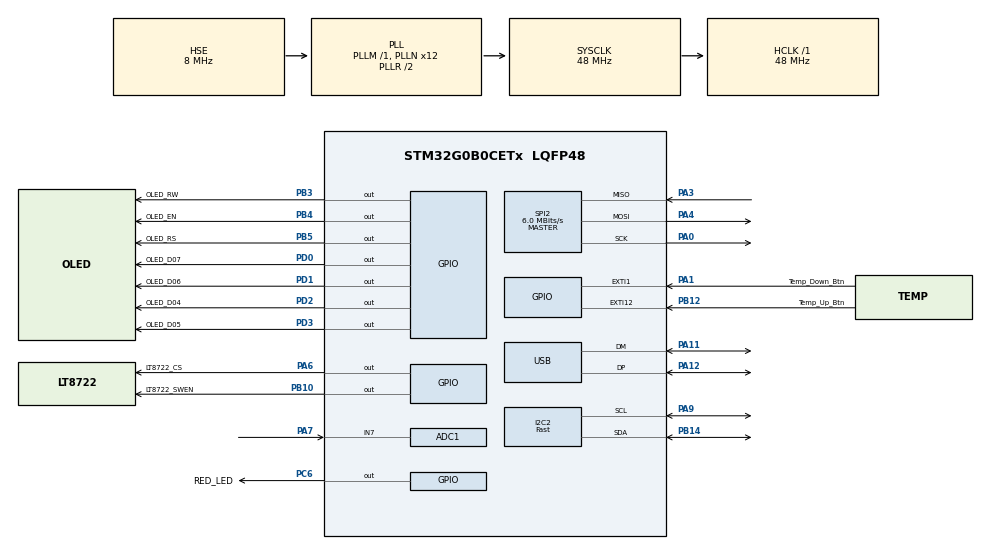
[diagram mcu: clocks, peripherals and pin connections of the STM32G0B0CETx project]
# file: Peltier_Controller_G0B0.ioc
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ADC1.Channel-0\#ChannelRegularConversion=ADC_CHANNEL_7
ADC1.NbrOfConversionFlag=1
ADC1.Rank-0\#ChannelRegularConversion=1
ADC1.SamplingTime-0\#ChannelRegularConversion=ADC_SAMPLINGTIME_COMMON_1
ADC1.SamplingTimeCommon1=ADC_SAMPLETIME_39CYCLES_5
ADC1.SamplingTimeCommon2=ADC_SAMPLETIME_39CYCLES_5
ADC1.SelectedChannel=ADC_CHANNEL_7
ADC1.master=1
I2C2.I2C_Speed_Mode=I2C_Fast
I2C2.Timing=0x0090194B
Mcu.Family=STM32G0
Mcu.Name=STM32G0B0CETx
Mcu.Package=LQFP48
NVIC.ADC1_IRQn=true\:0\:0\:false\:false\:true\:true\:true\:true
NVIC.EXTI0_1_IRQn=true\:0\:0\:false\:false\:true\:true\:true\:true
NVIC.EXTI4_15_IRQn=true\:0\:0\:false\:false\:true\:true\:true\:true
NVIC.TIM14_IRQn=true\:0\:0\:false\:false\:true\:true\:true\:true
NVIC.TIM16_IRQn=true\:0\:0\:false\:false\:true\:true\:true\:true
NVIC.TIM17_IRQn=true\:0\:0\:false\:false\:true\:true\:true\:true
NVIC.TIM7_IRQn=true\:0\:0\:false\:false\:true\:true\:true\:true
NVIC.USB_IRQn=true\:0\:0\:false\:false\:true\:false\:true\:true
PA0.Mode=Full_Duplex_Master
PA0.Signal=SPI2_SCK
PA1.GPIO_Label=Temp_Down_Btn
PA1.GPIO_ModeDefaultEXTI=GPIO_MODE_IT_FALLING
PA1.Signal=GPXTI1
PA11\ [PA9].Mode=Device
PA11\ [PA9].Signal=USB_DM
PA12\ [PA10].Mode=Device
PA12\ [PA10].Signal=USB_DP
PA13.Mode=Serial_Wire
PA13.Signal=SYS_SWDIO
PA14-BOOT0.Mode=Serial_Wire
PA14-BOOT0.Signal=SYS_SWCLK
PA3.Mode=Full_Duplex_Master
PA3.Signal=SPI2_MISO
PA4.Mode=Full_Duplex_Master
PA4.Signal=SPI2_MOSI
PA6.GPIO_Label=LT8722_CS
PA6.Signal=GPIO_Output
PA7.Mode=IN7
PA7.Signal=ADC1_IN7
PA9.GPIO_Pu=GPIO_PULLUP
PA9.Mode=I2C
PA9.Signal=I2C2_SCL
PB10.GPIO_Label=LT8722_SWEN
PB10.Signal=GPIO_Output
PB12.GPIO_Label=Temp_Up_Btn
PB12.GPIO_ModeDefaultEXTI=GPIO_MODE_IT_FALLING
PB12.Signal=GPXTI12
PB14.GPIO_Pu=GPIO_PULLUP
PB14.Mode=I2C
PB14.Signal=I2C2_SDA
PB3.GPIO_Label=OLED_RW
PB3.Signal=GPIO_Output
PB4.GPIO_Label=OLED_EN
PB4.Signal=GPIO_Output
PB5.GPIO_Label=OLED_RS
PB5.Signal=GPIO_Output
PC6.GPIO_Label=RED_LED
PC6.Signal=GPIO_Output
PD0.GPIO_Label=OLED_D07
PD0.Signal=GPIO_Output
PD1.GPIO_Label=OLED_D06
PD1.Signal=GPIO_Output
PD2.GPIO_Label=OLED_D04
PD2.Signal=GPIO_Output
PD3.GPIO_Label=OLED_D05
PD3.Signal=GPIO_Output
PF0-OSC_IN\ (PF0).Mode=HSE-External-Oscillator
PF0-OSC_IN\ (PF0).Signal=RCC_OSC_IN
PF1-OSC_OUT\ (PF1).Mode=HSE-External-Oscillator
PF1-OSC_OUT\ (PF1).Signal=RCC_OSC_OUT
ProjectManager.HeapSize=0x200
ProjectManager.StackSize=0x400
ProjectManager.TargetToolchain=STM32CubeIDE
RCC.ADCFreq_Value=48000000
RCC.AHBFreq_Value=48000000
RCC.CortexFreq_Value=48000000
RCC.EXTERNAL_CLOCK_VALUE=48000
RCC.HCLKFreq_Value=48000000
RCC.HSE_VALUE=8000000
RCC.HSI_VALUE=16000000
RCC.LSE_VALUE=32768
RCC.PLLN=12
RCC.PLLSourceVirtual=RCC_PLLSOURCE_HSE
RCC.SYSCLKFreq_VALUE=48000000
RCC.SYSCLKSource=RCC_SYSCLKSOURCE_PLLCLK
RCC.USBFreq_Value=48000000
RCC.VCOOutputFreq_Value=96000000
SPI2.BaudRatePrescaler=SPI_BAUDRATEPRESCALER_8
SPI2.CalculateBaudRate=6.0 MBits/s
SPI2.DataSize=SPI_DATASIZE_8BIT
SPI2.Direction=SPI_DIRECTION_2LINES
SPI2.Mode=SPI_MODE_MASTER
SPI2.VirtualType=VM_MASTER
TIM14.Period=100-1
TIM14.Prescaler=48000-1
TIM16.Period=1000-1
TIM16.Prescaler=48000-1
TIM17.Period=1000-1
TIM17.Prescaler=48000-1
TIM7.Period=33-1
TIM7.Prescaler=48000-1
USB_DEVICE.CLASS_NAME_FS=CDC
USB_DEVICE.VirtualMode=Cdc
USB_DEVICE.VirtualModeFS=Cdc_FS
VP_SYS_VS_DBSignals.Mode=DisableDeadBatterySignals
VP_TIM14_VS_ClockSourceINT.Mode=Enable_Timer
VP_TIM16_VS_ClockSourceINT.Mode=Enable_Timer
VP_TIM17_VS_ClockSourceINT.Mode=Enable_Timer
VP_TIM7_VS_ClockSourceINT.Mode=Enable_Timer
VP_USB_DEVICE_VS_USB_DEVICE_CDC_FS.Mode=CDC_FS
board=custom

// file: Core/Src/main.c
/* USER CODE BEGIN Header */
/**
  ******************************************************************************
  * @file           : main.c
  * @brief          : Main program body
  ******************************************************************************
  * @attention
  *
  * Copyright (c) 2025 STMicroelectronics.
  * All rights reserved.
  *
  * This software is licensed under terms that can be found in the LICENSE file
  * in the root directory of this software component.
  * If no LICENSE file comes with this software, it is provided AS-IS.
  *
  ******************************************************************************
  */
/* USER CODE END Header */
#include "main.h"
#include "usb_device.h"

/* USER CODE BEGIN Includes */

#include <string.h>
#include "OLED_WS0010.h"
#include "tmp1075.h"
#include "lt8722.h"
#include "pid.h"
#include "usb_helpers.h"

/* USER CODE END Includes */

ADC_HandleTypeDef hadc1;

I2C_HandleTypeDef hi2c2;

SPI_HandleTypeDef hspi2;

TIM_HandleTypeDef htim7;
TIM_HandleTypeDef htim14;
TIM_HandleTypeDef htim16;
TIM_HandleTypeDef htim17;

/* USER CODE BEGIN PV */
int time_to_rerun_PID_loop = 0;
int time_to_refresh_OLED = 0;
int temp_down_btn_is_pressed_down = 0;
int temp_up_btn_is_pressed_down = 0;
int is_following_profile = 0;
double set_temp_inside = 0;
int button_is_bouncing = 0;

double current_temp_inside = 0;
double current_temp_outside = 0;
double pid_output = 0;

double Kp_Part = 0;
double Ki_Part = 0;
double Kd_Part = 0;

/* USER CODE END PV */

void SystemClock_Config(void);
static void MX_GPIO_Init(void);
static void MX_I2C2_Init(void);
static void MX_ADC1_Init(void);
static void MX_TIM17_Init(void);
static void MX_SPI2_Init(void);
static void MX_TIM16_Init(void);
static void MX_TIM7_Init(void);
static void MX_TIM14_Init(void);

int main(void)
{

  /* MCU Configuration--------------------------------------------------------*/

  /* Reset of all peripherals, Initializes the Flash interface and the Systick. */
  HAL_Init();

  /* Configure the system clock */
  SystemClock_Config();

  /* Initialize all configured peripherals */
  MX_GPIO_Init();
  MX_USB_Device_Init();
  MX_I2C2_Init();
  MX_ADC1_Init();
  MX_TIM17_Init();
  MX_SPI2_Init();
  MX_TIM16_Init();
  MX_TIM7_Init();
  MX_TIM14_Init();
  /* USER CODE BEGIN 2 */

  HAL_Delay(50); // Stabilize voltage for OLED
  GPIO_TypeDef *data_ports[] = {OLED_D04_GPIO_Port, OLED_D05_GPIO_Port, OLED_D06_GPIO_Port, OLED_D07_GPIO_Port};
  uint16_t data_pins[] = {OLED_D04_Pin, OLED_D05_Pin, OLED_D06_Pin, OLED_D07_Pin};
  Oled_HandleTypeDef oled = Oled_init(OLED_RS_GPIO_Port, OLED_RS_Pin, OLED_EN_GPIO_Port, OLED_EN_Pin, data_ports, data_pins);
  Oled_resupply_power(&oled);

  double current_temp_inside = 0;
  double current_temp_outside = 0;
  // Check if Thermometers are connected an read current inside temp
  while(read_temp(&hi2c2, TMP1075_1_addr, &current_temp_outside) != 0 || read_temp(&hi2c2, TMP1075_2_addr, &current_temp_inside) != 0 ){
	  Oled_cursor(&oled, 0, 0);
	  Oled_string(&oled, "Missing");
	  Oled_cursor(&oled, 1, 0);
	  Oled_string(&oled, "Thermo");
	  HAL_Delay(500);
  }

  set_temp_inside = current_temp_inside;

  Oled_clear(&oled);

  while(LT8722_Init(&hspi2)!=0){
	  Oled_cursor(&oled, 0, 0);
	  Oled_string(&oled, "Failed");
	  Oled_cursor(&oled, 1, 0);
	  Oled_string(&oled, "init");
	  HAL_Delay(500);
  }

  HAL_Delay(500);

  int tries = 0;
  int successful_load_detection_count = 0;

  while(successful_load_detection_count < 2){

	  if(is_load_connected(&hspi2, &hadc1) == 1){
		  successful_load_detection_count++;
	  }
	  else{
		  successful_load_detection_count = 0;
	  }
	  tries++;

	  if(tries > 6){
		  Oled_cursor(&oled, 0, 0);
		  Oled_string(&oled, "Missing");
		  Oled_cursor(&oled, 1, 0);
		  Oled_string(&oled, "Peltier");
	  }
	  HAL_Delay(500);
  }

  Oled_clear(&oled);

  double pid_output = 0;

  HAL_TIM_Base_Start_IT(&htim17); // Starting PID timer. Period 1 second.
  HAL_TIM_Base_Start_IT(&htim7); // Starting OLED refreshing timer. Period 33 miliseconds.
  /* USER CODE END 2 */

  /* Infinite loop */
  while (1)
  {

    /* USER CODE BEGIN 3 */

	if(time_to_rerun_PID_loop){
		time_to_rerun_PID_loop = 0;
		if(read_temp(&hi2c2, TMP1075_2_addr, &current_temp_inside) != 0)
			continue;
		if(read_temp(&hi2c2, TMP1075_1_addr, &current_temp_outside) != 0)
			continue;
		pid_output = compute_pid_output(current_temp_inside, set_temp_inside, current_temp_outside, &Kp_Part, &Ki_Part, &Kd_Part);
		set_vout(&hspi2, pid_output);

		send_temps_via_usb(current_temp_inside, current_temp_outside, set_temp_inside);
		listen_to_usb(&set_temp_inside, &is_following_profile);

	}
	if(time_to_refresh_OLED){
		refresh_displayed_info(&oled, set_temp_inside, current_temp_inside);
		time_to_refresh_OLED = 0;
	}

  }
  /* USER CODE END 3 */
}

void SystemClock_Config(void)
{
  RCC_OscInitTypeDef RCC_OscInitStruct = {0};
  RCC_ClkInitTypeDef RCC_ClkInitStruct = {0};

  /** Configure the main internal regulator output voltage
  */
  HAL_PWREx_ControlVoltageScaling(PWR_REGULATOR_VOLTAGE_SCALE1);

  /** Initializes the RCC Oscillators according to the specified parameters
  * in the RCC_OscInitTypeDef structure.
  */
  RCC_OscInitStruct.OscillatorType = RCC_OSCILLATORTYPE_HSE;
  RCC_OscInitStruct.HSEState = RCC_HSE_ON;
  RCC_OscInitStruct.PLL.PLLState = RCC_PLL_ON;
  RCC_OscInitStruct.PLL.PLLSource = RCC_PLLSOURCE_HSE;
  RCC_OscInitStruct.PLL.PLLM = RCC_PLLM_DIV1;
  RCC_OscInitStruct.PLL.PLLN = 12;
  RCC_OscInitStruct.PLL.PLLP = RCC_PLLP_DIV2;
  RCC_OscInitStruct.PLL.PLLQ = RCC_PLLQ_DIV2;
  RCC_OscInitStruct.PLL.PLLR = RCC_PLLR_DIV2;
  if (HAL_RCC_OscConfig(&RCC_OscInitStruct) != HAL_OK)
  {
    Error_Handler();
  }

  /** Initializes the CPU, AHB and APB buses clocks
  */
  RCC_ClkInitStruct.ClockType = RCC_CLOCKTYPE_HCLK|RCC_CLOCKTYPE_SYSCLK
                              |RCC_CLOCKTYPE_PCLK1;
  RCC_ClkInitStruct.SYSCLKSource = RCC_SYSCLKSOURCE_PLLCLK;
  RCC_ClkInitStruct.AHBCLKDivider = RCC_SYSCLK_DIV1;
  RCC_ClkInitStruct.APB1CLKDivider = RCC_HCLK_DIV1;

  if (HAL_RCC_ClockConfig(&RCC_ClkInitStruct, FLASH_LATENCY_1) != HAL_OK)
  {
    Error_Handler();
  }
}

static void MX_ADC1_Init(void)
{

  ADC_ChannelConfTypeDef sConfig = {0};

  /** Configure the global features of the ADC (Clock, Resolution, Data Alignment and number of conversion)
  */
  hadc1.Instance = ADC1;
  hadc1.Init.ClockPrescaler = ADC_CLOCK_SYNC_PCLK_DIV2;
  hadc1.Init.Resolution = ADC_RESOLUTION_12B;
  hadc1.Init.DataAlign = ADC_DATAALIGN_RIGHT;
  hadc1.Init.ScanConvMode = ADC_SCAN_DISABLE;
  hadc1.Init.EOCSelection = ADC_EOC_SINGLE_CONV;
  hadc1.Init.LowPowerAutoWait = DISABLE;
  hadc1.Init.LowPowerAutoPowerOff = DISABLE;
  hadc1.Init.ContinuousConvMode = DISABLE;
  hadc1.Init.NbrOfConversion = 1;
  hadc1.Init.DiscontinuousConvMode = DISABLE;
  hadc1.Init.ExternalTrigConv = ADC_SOFTWARE_START;
  hadc1.Init.ExternalTrigConvEdge = ADC_EXTERNALTRIGCONVEDGE_NONE;
  hadc1.Init.DMAContinuousRequests = DISABLE;
  hadc1.Init.Overrun = ADC_OVR_DATA_PRESERVED;
  hadc1.Init.SamplingTimeCommon1 = ADC_SAMPLETIME_39CYCLES_5;
  hadc1.Init.SamplingTimeCommon2 = ADC_SAMPLETIME_39CYCLES_5;
  hadc1.Init.OversamplingMode = DISABLE;
  hadc1.Init.TriggerFrequencyMode = ADC_TRIGGER_FREQ_HIGH;
  if (HAL_ADC_Init(&hadc1) != HAL_OK)
  {
    Error_Handler();
  }

  /** Configure Regular Channel
  */
  sConfig.Channel = ADC_CHANNEL_7;
  sConfig.Rank = ADC_REGULAR_RANK_1;
  sConfig.SamplingTime = ADC_SAMPLINGTIME_COMMON_1;
  if (HAL_ADC_ConfigChannel(&hadc1, &sConfig) != HAL_OK)
  {
    Error_Handler();
  }

}

static void MX_I2C2_Init(void)
{

  hi2c2.Instance = I2C2;
  hi2c2.Init.Timing = 0x0090194B;
  hi2c2.Init.OwnAddress1 = 0;
  hi2c2.Init.AddressingMode = I2C_ADDRESSINGMODE_7BIT;
  hi2c2.Init.DualAddressMode = I2C_DUALADDRESS_DISABLE;
  hi2c2.Init.OwnAddress2 = 0;
  hi2c2.Init.OwnAddress2Masks = I2C_OA2_NOMASK;
  hi2c2.Init.GeneralCallMode = I2C_GENERALCALL_DISABLE;
  hi2c2.Init.NoStretchMode = I2C_NOSTRETCH_DISABLE;
  if (HAL_I2C_Init(&hi2c2) != HAL_OK)
  {
    Error_Handler();
  }

  /** Configure Analogue filter
  */
  if (HAL_I2CEx_ConfigAnalogFilter(&hi2c2, I2C_ANALOGFILTER_ENABLE) != HAL_OK)
  {
    Error_Handler();
  }

  /** Configure Digital filter
  */
  if (HAL_I2CEx_ConfigDigitalFilter(&hi2c2, 0) != HAL_OK)
  {
    Error_Handler();
  }

}

static void MX_SPI2_Init(void)
{

  /* SPI2 parameter configuration*/
  hspi2.Instance = SPI2;
  hspi2.Init.Mode = SPI_MODE_MASTER;
  hspi2.Init.Direction = SPI_DIRECTION_2LINES;
  hspi2.Init.DataSize = SPI_DATASIZE_8BIT;
  hspi2.Init.CLKPolarity = SPI_POLARITY_LOW;
  hspi2.Init.CLKPhase = SPI_PHASE_1EDGE;
  hspi2.Init.NSS = SPI_NSS_SOFT;
  hspi2.Init.BaudRatePrescaler = SPI_BAUDRATEPRESCALER_8;
  hspi2.Init.FirstBit = SPI_FIRSTBIT_MSB;
  hspi2.Init.TIMode = SPI_TIMODE_DISABLE;
  hspi2.Init.CRCCalculation = SPI_CRCCALCULATION_DISABLE;
  hspi2.Init.CRCPolynomial = 7;
  hspi2.Init.CRCLength = SPI_CRC_LENGTH_DATASIZE;
  hspi2.Init.NSSPMode = SPI_NSS_PULSE_ENABLE;
  if (HAL_SPI_Init(&hspi2) != HAL_OK)
  {
    Error_Handler();
  }

}

static void MX_TIM7_Init(void)
{

  TIM_MasterConfigTypeDef sMasterConfig = {0};

  htim7.Instance = TIM7;
  htim7.Init.Prescaler = 48000-1;
  htim7.Init.CounterMode = TIM_COUNTERMODE_UP;
  htim7.Init.Period = 33-1;
  htim7.Init.AutoReloadPreload = TIM_AUTORELOAD_PRELOAD_DISABLE;
  if (HAL_TIM_Base_Init(&htim7) != HAL_OK)
  {
    Error_Handler();
  }
  sMasterConfig.MasterOutputTrigger = TIM_TRGO_RESET;
  sMasterConfig.MasterSlaveMode = TIM_MASTERSLAVEMODE_DISABLE;
  if (HAL_TIMEx_MasterConfigSynchronization(&htim7, &sMasterConfig) != HAL_OK)
  {
    Error_Handler();
  }

}

static void MX_TIM14_Init(void)
{

  htim14.Instance = TIM14;
  htim14.Init.Prescaler = 48000-1;
  htim14.Init.CounterMode = TIM_COUNTERMODE_UP;
  htim14.Init.Period = 100-1;
  htim14.Init.ClockDivision = TIM_CLOCKDIVISION_DIV1;
  htim14.Init.AutoReloadPreload = TIM_AUTORELOAD_PRELOAD_DISABLE;
  if (HAL_TIM_Base_Init(&htim14) != HAL_OK)
  {
    Error_Handler();
  }

}

static void MX_TIM16_Init(void)
{

  htim16.Instance = TIM16;
  htim16.Init.Prescaler = 48000-1;
  htim16.Init.CounterMode = TIM_COUNTERMODE_UP;
  htim16.Init.Period = 1000-1;
  htim16.Init.ClockDivision = TIM_CLOCKDIVISION_DIV1;
  htim16.Init.RepetitionCounter = 0;
  htim16.Init.AutoReloadPreload = TIM_AUTORELOAD_PRELOAD_DISABLE;
  if (HAL_TIM_Base_Init(&htim16) != HAL_OK)
  {
    Error_Handler();
  }

}

static void MX_TIM17_Init(void)
{

  htim17.Instance = TIM17;
  htim17.Init.Prescaler = 48000-1;
  htim17.Init.CounterMode = TIM_COUNTERMODE_UP;
  htim17.Init.Period = 1000-1;
  htim17.Init.ClockDivision = TIM_CLOCKDIVISION_DIV1;
  htim17.Init.RepetitionCounter = 0;
  htim17.Init.AutoReloadPreload = TIM_AUTORELOAD_PRELOAD_DISABLE;
  if (HAL_TIM_Base_Init(&htim17) != HAL_OK)
  {
    Error_Handler();
  }

}

static void MX_GPIO_Init(void)
{
  GPIO_InitTypeDef GPIO_InitStruct = {0};

  /* GPIO Ports Clock Enable */
  __HAL_RCC_GPIOF_CLK_ENABLE();
  __HAL_RCC_GPIOA_CLK_ENABLE();
  __HAL_RCC_GPIOB_CLK_ENABLE();
  __HAL_RCC_GPIOC_CLK_ENABLE();
  __HAL_RCC_GPIOD_CLK_ENABLE();

  /*Configure GPIO pin Output Level */
  HAL_GPIO_WritePin(LT8722_CS_GPIO_Port, LT8722_CS_Pin, GPIO_PIN_RESET);

  /*Configure GPIO pin Output Level */
  HAL_GPIO_WritePin(GPIOB, LT8722_SWEN_Pin|OLED_RW_Pin|OLED_EN_Pin|OLED_RS_Pin, GPIO_PIN_RESET);

  /*Configure GPIO pin Output Level */
  HAL_GPIO_WritePin(RED_LED_GPIO_Port, RED_LED_Pin, GPIO_PIN_RESET);

  /*Configure GPIO pin Output Level */
  HAL_GPIO_WritePin(GPIOD, OLED_D07_Pin|OLED_D06_Pin|OLED_D04_Pin|OLED_D05_Pin, GPIO_PIN_RESET);

  /*Configure GPIO pin : Temp_Down_Btn_Pin */
  GPIO_InitStruct.Pin = Temp_Down_Btn_Pin;
  GPIO_InitStruct.Mode = GPIO_MODE_IT_FALLING;
  GPIO_InitStruct.Pull = GPIO_NOPULL;
  HAL_GPIO_Init(Temp_Down_Btn_GPIO_Port, &GPIO_InitStruct);

  /*Configure GPIO pin : LT8722_CS_Pin */
  GPIO_InitStruct.Pin = LT8722_CS_Pin;
  GPIO_InitStruct.Mode = GPIO_MODE_OUTPUT_PP;
  GPIO_InitStruct.Pull = GPIO_NOPULL;
  GPIO_InitStruct.Speed = GPIO_SPEED_FREQ_LOW;
  HAL_GPIO_Init(LT8722_CS_GPIO_Port, &GPIO_InitStruct);

  /*Configure GPIO pins : LT8722_SWEN_Pin OLED_RW_Pin OLED_EN_Pin OLED_RS_Pin */
  GPIO_InitStruct.Pin = LT8722_SWEN_Pin|OLED_RW_Pin|OLED_EN_Pin|OLED_RS_Pin;
  GPIO_InitStruct.Mode = GPIO_MODE_OUTPUT_PP;
  GPIO_InitStruct.Pull = GPIO_NOPULL;
  GPIO_InitStruct.Speed = GPIO_SPEED_FREQ_LOW;
  HAL_GPIO_Init(GPIOB, &GPIO_InitStruct);

  /*Configure GPIO pin : Temp_Up_Btn_Pin */
  GPIO_InitStruct.Pin = Temp_Up_Btn_Pin;
  GPIO_InitStruct.Mode = GPIO_MODE_IT_FALLING;
  GPIO_InitStruct.Pull = GPIO_NOPULL;
  HAL_GPIO_Init(Temp_Up_Btn_GPIO_Port, &GPIO_InitStruct);

  /*Configure GPIO pin : RED_LED_Pin */
  GPIO_InitStruct.Pin = RED_LED_Pin;
  GPIO_InitStruct.Mode = GPIO_MODE_OUTPUT_PP;
  GPIO_InitStruct.Pull = GPIO_NOPULL;
  GPIO_InitStruct.Speed = GPIO_SPEED_FREQ_LOW;
  HAL_GPIO_Init(RED_LED_GPIO_Port, &GPIO_InitStruct);

  /*Configure GPIO pins : OLED_D07_Pin OLED_D06_Pin OLED_D04_Pin OLED_D05_Pin */
  GPIO_InitStruct.Pin = OLED_D07_Pin|OLED_D06_Pin|OLED_D04_Pin|OLED_D05_Pin;
  GPIO_InitStruct.Mode = GPIO_MODE_OUTPUT_PP;
  GPIO_InitStruct.Pull = GPIO_NOPULL;
  GPIO_InitStruct.Speed = GPIO_SPEED_FREQ_LOW;
  HAL_GPIO_Init(GPIOD, &GPIO_InitStruct);

  /* EXTI interrupt init*/
  HAL_NVIC_SetPriority(EXTI0_1_IRQn, 0, 0);
  HAL_NVIC_EnableIRQ(EXTI0_1_IRQn);

  HAL_NVIC_SetPriority(EXTI4_15_IRQn, 0, 0);
  HAL_NVIC_EnableIRQ(EXTI4_15_IRQn);

}

/* USER CODE BEGIN 4 */

void HAL_TIM_PeriodElapsedCallback(TIM_HandleTypeDef *htim) {
    if (htim->Instance == TIM14) { //Debouncer
    	button_is_bouncing = 0;
    	HAL_TIM_Base_Stop_IT(&htim14);
    }
    if (htim->Instance == TIM17) { //PID and USB timer
    	time_to_rerun_PID_loop = 1;
    	HAL_GPIO_TogglePin(RED_LED_GPIO_Port, RED_LED_Pin);
    }

    if (htim->Instance == TIM16) { //Button pressed time counting timer

    	double temp_change_speeds[] = {0.5, 1, 2, 5};
    	static int speed_index = 0;
    	static int period_counter = 0;
    	static int previously_pressed_down_button = 2; // 0 for down, 1 for up

    	if(previously_pressed_down_button != 0 && temp_down_btn_is_pressed_down){
    		period_counter = 0;
    		speed_index = 0;
    		previously_pressed_down_button = 0;
    	}

    	if(previously_pressed_down_button != 1 && temp_up_btn_is_pressed_down){
    		period_counter = 0;
    		speed_index = 0;
    		previously_pressed_down_button = 1;
    	}

    	if(temp_down_btn_is_pressed_down){
			if(HAL_GPIO_ReadPin(Temp_Down_Btn_GPIO_Port, Temp_Down_Btn_Pin) == 0){
				if(set_temp_inside - temp_change_speeds[speed_index] < MIN_Temp){
					set_temp_inside = MIN_Temp;
				}
				else{
					set_temp_inside -= temp_change_speeds[speed_index];
					period_counter++;
					if(speed_index != 3)
						speed_index = period_counter/3;
				}
			}
			else{
				temp_down_btn_is_pressed_down = 0;
				HAL_TIM_Base_Stop_IT(&htim16);
				period_counter = 0;
				speed_index = 0;
			}
    	}
    	if(temp_up_btn_is_pressed_down){
			if(HAL_GPIO_ReadPin(Temp_Up_Btn_GPIO_Port, Temp_Up_Btn_Pin) == 0){
				if(set_temp_inside + temp_change_speeds[speed_index] > MAX_Temp){
					set_temp_inside = MAX_Temp;
				}
				else{
					set_temp_inside += temp_change_speeds[speed_index];
					period_counter++;
					if(speed_index != 3)
						speed_index = period_counter/3;
				}
			}
			else{
				temp_up_btn_is_pressed_down = 0;
				HAL_TIM_Base_Stop_IT(&htim16);
				period_counter = 0;
				speed_index = 0;
			}
    	}

    }

    if (htim->Instance == TIM7) { //Display refresh timer
    	time_to_refresh_OLED = 1;
    }

}
void HAL_GPIO_EXTI_Falling_Callback(uint16_t GPIO_Pin){
	if(button_is_bouncing != 1){
		if (GPIO_Pin == Temp_Down_Btn_Pin) {
			if(set_temp_inside -0.1 < MIN_Temp){
				set_temp_inside = MIN_Temp;
			}
			else{
				set_temp_inside -= 0.1 ;
			}
			temp_down_btn_is_pressed_down = 1;
			temp_up_btn_is_pressed_down = 0;
		}
		if (GPIO_Pin == Temp_Up_Btn_Pin) {
			if(set_temp_inside + 0.1 > MAX_Temp){
				set_temp_inside = MAX_Temp;
			}
			else{
				set_temp_inside += 0.1;
			}
			temp_up_btn_is_pressed_down = 1;
			temp_down_btn_is_pressed_down = 0;
		}
		button_is_bouncing = 1;

		htim14.Instance->CNT = 0;
		__HAL_TIM_CLEAR_FLAG(&htim14, TIM_FLAG_UPDATE); // So that timer ran for the first time does not immediately raise an interrupt
		HAL_TIM_Base_Start_IT(&htim14); // Debouncing timer;

		if(is_following_profile){
			send_stop_following_profile();
			is_following_profile = 0;
		}

		htim16.Instance->CNT = 0;
		__HAL_TIM_CLEAR_FLAG(&htim16, TIM_FLAG_UPDATE); // So that timer ran for the first time does not immediately raise an interrupt
		HAL_TIM_Base_Start_IT(&htim16);
	}
}

/* USER CODE END 4 */

void Error_Handler(void)
{
  __disable_irq();
  while (1)
  {
  }
}
